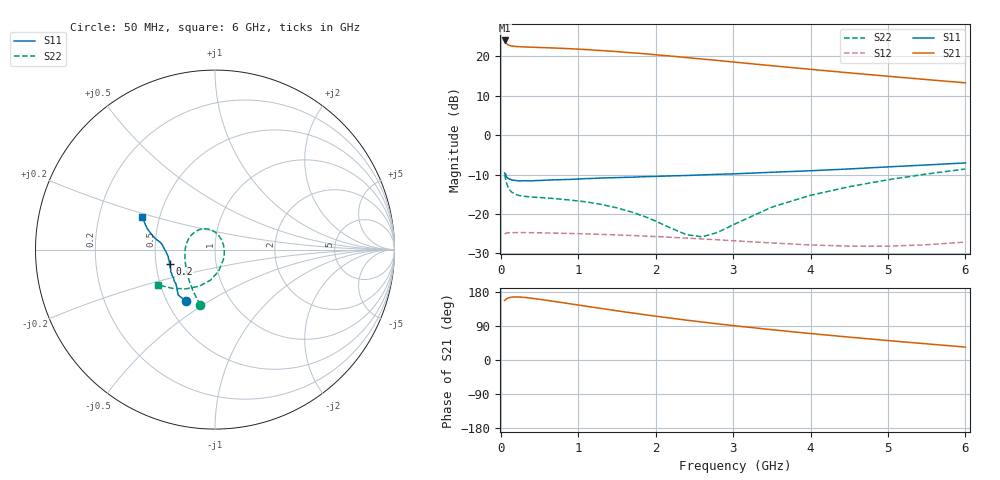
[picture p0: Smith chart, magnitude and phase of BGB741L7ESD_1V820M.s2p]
!  Infineon Technologies AG
!  BGB741L7ESD
!  Vce = 1.8V, Ic = 20.0mA
!  DATUM: 30.06.2009 10:08:22
# GHz  S  MA  R  50
!f  S11  S21  S12  S22
!GHz  Mag  Ang  Mag  Ang  Mag  Ang  Mag  Ang
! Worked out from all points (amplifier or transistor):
!   44 points, 50 MHz to 6 GHz, reference 50 ohm
!   highest |S21| = 24.0 dB at 50 MHz (marker M1)
!   |S21| within 3 dB of that: start of sweep to 1.605 GHz
!   unconditionally stable (mu >= 1): 197.4 MHz to end of sweep
!   at 120 MHz: K = 0.97, MSG = 23.7 dB, |S12| = -24.7 dB
!   at 1 GHz: K = 1.04, MAG = 22.2 dB, |S12| = -25.0 dB
!   at 6 GHz: K = 1.71, MAG = 15.3 dB, |S12| = -27.1 dB
!   S11 on the Smith chart (normalised r, x): 50 MHz: 0.62, -0.40; 200 MHz: 0.59, -0.10; 6 GHz: 0.40, +0.18
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0.05  0.3301 -119.2  15.91 157.1  0.05585 16.6  0.3188 -104.8
0.06  0.3258 -129.1  15.14 158.7  0.05655 13.6  0.2822 -112.4
0.07  0.3045 -134.0  14.65 160.6  0.05693 11.8  0.257 -119.0
0.08  0.2888 -138.9  14.32 161.9  0.05757 10.3  0.2389 -124.7
0.1  0.2792 -146.1  13.91 163.7  0.05772 8.1  0.2144 -134.2
0.14  0.2705 -155.8  13.54 165.8  0.05812 5.5  0.1902 -148.1
0.2  0.2657 -162.0  13.33 166.4  0.05811 3.3  0.1764 -161.4
0.35  0.2632 -170.2  13.11 164.3  0.05803 0.9  0.166 179.1
0.7  0.2716 -176.5  12.75 154.3  0.05727 -1.6  0.1571 152.7
1.1  0.2813 179.5  12.19 142.0  0.05595 -3.2  0.1428 129.2
1.4  0.2882 177.4  11.67 132.9  0.05471 -3.9  0.1257 113.3
1.6  0.2918 175.7  11.27 127.0  0.0538 -4.4  0.1121 102.0
1.9  0.2983 174.0  10.69 118.4  0.05233 -4.8  0.08971 82.6
2.2  0.3046 172.9  10.07 110.4  0.0507 -4.8  0.06606 57.1
2.8  0.319 171.1  8.869 95.4  0.04713 -4.0  0.05848 -28.7
3  0.323 170.9  8.483 90.8  0.04585 -3.2  0.07279 -50.0
3.5  0.3386 169.5  7.605 79.9  0.04294 -0.4  0.1222 -80.7
4  0.3537 167.6  6.842 69.8  0.04052 4.0  0.1728 -98.5
4.5  0.3731 165.4  6.176 60.4  0.0391 10.1  0.2221 -113.4
5  0.3962 162.6  5.594 51.3  0.03911 17.0  0.272 -126.5
5.5  0.4192 159.2  5.076 42.6  0.04076 24.0  0.3219 -137.9
6  0.4451 155.7  4.615 34.1  0.04411 29.8  0.3725 -148.2
